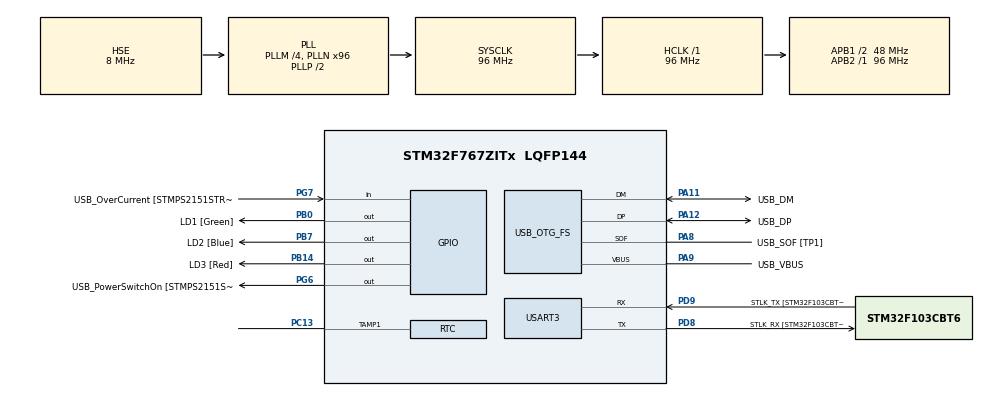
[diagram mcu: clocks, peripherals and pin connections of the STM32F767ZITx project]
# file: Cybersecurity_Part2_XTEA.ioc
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Mcu.Family=STM32F7
Mcu.Name=STM32F767ZITx
Mcu.Package=LQFP144
NVIC.HASH_RNG_IRQn=true\:0\:0\:false\:false\:true\:true\:true\:true
NVIC.PriorityGroup=NVIC_PRIORITYGROUP_4
NVIC.TAMP_STAMP_IRQn=true\:0\:0\:false\:false\:true\:true\:true\:true
PA1.GPIO_Label=RMII_REF_CLK [LAN8742A-CZ-TR_REFCLK0]
PA1.Signal=ETH_REF_CLK
PA10.GPIO_Label=USB_ID
PA10.Signal=USB_OTG_FS_ID
PA11.GPIO_Label=USB_DM
PA11.Mode=Device_Only
PA11.Signal=USB_OTG_FS_DM
PA12.GPIO_Label=USB_DP
PA12.Mode=Device_Only
PA12.Signal=USB_OTG_FS_DP
PA13.GPIO_Label=TMS
PA13.Mode=Serial_Wire
PA13.Signal=SYS_JTMS-SWDIO
PA14.GPIO_Label=TCK
PA14.Mode=Serial_Wire
PA14.Signal=SYS_JTCK-SWCLK
PA2.GPIO_Label=RMII_MDIO [LAN8742A-CZ-TR_MDIO]
PA2.Signal=ETH_MDIO
PA7.GPIO_Label=RMII_CRS_DV [LAN8742A-CZ-TR_CRS_DV]
PA7.Signal=ETH_CRS_DV
PA8.GPIO_Label=USB_SOF [TP1]
PA8.Mode=Activate_SOF_FS
PA8.Signal=USB_OTG_FS_SOF
PA9.GPIO_Label=USB_VBUS
PA9.Mode=Activate_VBUS
PA9.Signal=USB_OTG_FS_VBUS
PB0.GPIO_Label=LD1 [Green]
PB0.Signal=GPIO_Output
PB13.GPIO_Label=RMII_TXD1 [LAN8742A-CZ-TR_TXD1]
PB13.Signal=ETH_TXD1
PB14.GPIO_Label=LD3 [Red]
PB14.Signal=GPIO_Output
PB3.GPIO_Label=SWO
PB3.Signal=SYS_JTDO-SWO
PB7.GPIO_Label=LD2 [Blue]
PB7.Signal=GPIO_Output
PC1.GPIO_Label=RMII_MDC [LAN8742A-CZ-TR_MDC]
PC1.Signal=ETH_MDC
PC13.Mode=Tamper 1 enabled - Input Enabled to TAMP1
PC13.Signal=RTC_TAMP1
PC14/OSC32_IN.Mode=LSE-External-Oscillator
PC14/OSC32_IN.Signal=RCC_OSC32_IN
PC15/OSC32_OUT.Mode=LSE-External-Oscillator
PC15/OSC32_OUT.Signal=RCC_OSC32_OUT
PC4.GPIO_Label=RMII_RXD0 [LAN8742A-CZ-TR_RXD0]
PC4.Signal=ETH_RXD0
PC5.GPIO_Label=RMII_RXD1 [LAN8742A-CZ-TR_RXD1]
PC5.Signal=ETH_RXD1
PD8.GPIO_Label=STLK_RX [STM32F103CBT6_PA3]
PD8.Mode=Asynchronous
PD8.Signal=USART3_TX
PD9.GPIO_Label=STLK_TX [STM32F103CBT6_PA2]
PD9.Mode=Asynchronous
PD9.Signal=USART3_RX
PG11.GPIO_Label=RMII_TX_EN [LAN8742A-CZ-TR_TXEN]
PG11.Signal=ETH_TX_EN
PG13.GPIO_Label=RMII_TXD0 [LAN8742A-CZ-TR_TXD0]
PG13.Signal=ETH_TXD0
PG6.GPIO_Label=USB_PowerSwitchOn [STMPS2151STR_EN]
PG6.Signal=GPIO_Output
PG7.GPIO_Label=USB_OverCurrent [STMPS2151STR_FAULT]
PG7.Signal=GPIO_Input
PH0/OSC_IN.GPIO_Label=MCO [STM32F103CBT6_PA8]
PH0/OSC_IN.Mode=HSE-External-Clock-Source
PH0/OSC_IN.Signal=RCC_OSC_IN
PH1/OSC_OUT.Mode=HSE-External-Clock-Source
PH1/OSC_OUT.Signal=RCC_OSC_OUT
ProjectManager.HeapSize=0x200
ProjectManager.StackSize=0x400
ProjectManager.TargetToolchain=STM32CubeIDE
RCC.48MHZClocksFreq_Value=24000000
RCC.AHBFreq_Value=96000000
RCC.APB1CLKDivider=RCC_HCLK_DIV2
RCC.APB1Freq_Value=48000000
RCC.APB1TimFreq_Value=96000000
RCC.APB2Freq_Value=96000000
RCC.APB2TimFreq_Value=96000000
RCC.CortexFreq_Value=96000000
RCC.HCLKFreq_Value=96000000
RCC.HSE_VALUE=8000000
RCC.HSI_VALUE=16000000
RCC.PLLM=4
RCC.PLLMUL=RCC_PLL_MUL9
RCC.PLLN=96
RCC.PLLQ=4
RCC.PRESCALERUSB=RCC_USBCLKSOURCE_PLL_DIV1_5
RCC.SYSCLKFreq_VALUE=96000000
RCC.SYSCLKSource=RCC_SYSCLKSOURCE_PLLCLK
RCC.SYSCLKSourceVirtual=RCC_SYSCLKSOURCE_PLLCLK
RCC.USBFreq_Value=48000000
RCC.VCOOutputFreq_Value=192000000
RTC.Trigger_1=RTC_TAMPERTRIGGER_FALLINGEDGE
USART3.VirtualMode-Asynchronous=VM_ASYNC
USB_OTG_FS.VirtualMode=Device_Only
VP_RNG_VS_RNG.Mode=RNG_Activate
VP_RTC_VS_RTC_Activate.Mode=RTC_Enabled
board=NUCLEO-F767ZI

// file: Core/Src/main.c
/* USER CODE BEGIN Header */
/**
  ******************************************************************************
  * @file           : main.c
  * @brief          : Main program body
  ******************************************************************************
  * @attention
  *
  * Copyright (c) 2025 STMicroelectronics.
  * All rights reserved.
  *
  * This software is licensed under terms that can be found in the LICENSE file
  * in the root directory of this software component.
  * If no LICENSE file comes with this software, it is provided AS-IS.
  *
  ******************************************************************************
  */
/* USER CODE END Header */
#include "main.h"

/* USER CODE BEGIN Includes */
#include "stdio.h"
#include "xtea.h"
#include "string.h"
#include "stm32f7xx_ll_cortex.h"
#include "hashcheck.h"
#include "crypto.h"
#include "ecc_pub_key.h"
//#include "securitycheck.h"
#include "sigcheck.h"

/* USER CODE END Includes */

RNG_HandleTypeDef hrng;

RTC_HandleTypeDef hrtc;

UART_HandleTypeDef huart3;

PCD_HandleTypeDef hpcd_USB_OTG_FS;

void SystemClock_Config(void);
static void MX_GPIO_Init(void);
static void MX_USART3_UART_Init(void);
static void MX_USB_OTG_FS_PCD_Init(void);
static void MX_RNG_Init(void);
static void MX_RTC_Init(void);
/* USER CODE BEGIN PFP */
#ifdef __GNUC__
/* With GCC/RAISONANCE, small printf (option LD Linker->Libraries->Small printf
set to 'Yes') calls __io_putchar() */
#define PUTCHAR_PROTOTYPE int __io_putchar(int ch)
#else
#define PUTCHAR_PROTOTYPE int fputc(int ch, FILE *f)
#endif /* __GNUC__ */
/**
* @brief Retargets the C library printf function to the USART.
* @param None
* @retval None
*/
PUTCHAR_PROTOTYPE
{
/* Place your implementation of fputc here */
/* e.g. write a character to the USART1 and Loop until the end of transmission */
HAL_UART_Transmit(&huart3, (uint8_t *)&ch, 1, 0xFFFF);
return ch;
}

/* USER CODE END PFP */

/* USER CODE BEGIN 0 */
__attribute__((section(".signature")))
const uint8_t firmware_signature[64] = {
    [0 ... 63] = 0x00
};

uint32_t getCurrentMicros(void)
{
	LL_SYSTICK_IsActiveCounterFlag();
	uint32_t m = HAL_GetTick();
	const uint32_t tms = SysTick->LOAD + 1;
	__IO uint32_t u = tms - SysTick->VAL;
	if (LL_SYSTICK_IsActiveCounterFlag())
	{
		m = HAL_GetTick();
		u = tms - SysTick->VAL;
	}
	return (m*1000+(u*1000)/tms);
}

uint32_t myRandomNum;
uint8_t flagRNG = 0;

uint32_t key[4] = {0xABCDEFAB, 0xEFABCDEF, 0xCDEFABCD, 0xABCDEFAB};
/* USER CODE END 0 */

int main(void)
{

  /* USER CODE BEGIN 1 */
  uint32_t start_time;
  uint32_t end_time;
  uint32_t time_elapsed;
  /* USER CODE END 1 */

  /* MCU Configuration--------------------------------------------------------*/

  /* Reset of all peripherals, Initializes the Flash interface and the Systick. */
  HAL_Init();

  /* Configure the system clock */
  SystemClock_Config();

  /* Initialize all configured peripherals */
  MX_GPIO_Init();
  MX_USART3_UART_Init();
  MX_USB_OTG_FS_PCD_Init();
  MX_RNG_Init();
  MX_RTC_Init();
  /* USER CODE BEGIN 2 */

  printf("Waiting for 'start' command...\r\n");
  wait_for_start_command();

  FW_Signature_Verify();

  encrypt_and_send_uid();
  COM_Init();

  char cmd[16];  // <-- Declare the buffer for your UART command

  /* USER CODE END 2 */

  /* Infinite loop */
  while (1)
  {

    /* USER CODE BEGIN 3 */
	  memset(cmd, 0, sizeof(cmd));
	      read_uart_line(cmd, sizeof(cmd));
	      printf("Received command: '%s'\r\n", cmd);

	      if (strcmp(cmd, "plate") == 0) {
	          carplate();
	      } else if (strcmp(cmd, "secret") == 0) {
	          secret_message_encrypt();
	      } else {
	          printf("Unknown command: %s\r\n", cmd);
	      }

  }
  /* USER CODE END 3 */
}

void SystemClock_Config(void)
{
  RCC_OscInitTypeDef RCC_OscInitStruct = {0};
  RCC_ClkInitTypeDef RCC_ClkInitStruct = {0};

  /** Configure LSE Drive Capability
  */
  HAL_PWR_EnableBkUpAccess();

  /** Configure the main internal regulator output voltage
  */
  __HAL_RCC_PWR_CLK_ENABLE();
  __HAL_PWR_VOLTAGESCALING_CONFIG(PWR_REGULATOR_VOLTAGE_SCALE3);

  /** Initializes the RCC Oscillators according to the specified parameters
  * in the RCC_OscInitTypeDef structure.
  */
  RCC_OscInitStruct.OscillatorType = RCC_OSCILLATORTYPE_LSI|RCC_OSCILLATORTYPE_HSE;
  RCC_OscInitStruct.HSEState = RCC_HSE_BYPASS;
  RCC_OscInitStruct.LSIState = RCC_LSI_ON;
  RCC_OscInitStruct.PLL.PLLState = RCC_PLL_ON;
  RCC_OscInitStruct.PLL.PLLSource = RCC_PLLSOURCE_HSE;
  RCC_OscInitStruct.PLL.PLLM = 4;
  RCC_OscInitStruct.PLL.PLLN = 96;
  RCC_OscInitStruct.PLL.PLLP = RCC_PLLP_DIV2;
  RCC_OscInitStruct.PLL.PLLQ = 4;
  RCC_OscInitStruct.PLL.PLLR = 2;
  if (HAL_RCC_OscConfig(&RCC_OscInitStruct) != HAL_OK)
  {
    Error_Handler();
  }

  /** Activate the Over-Drive mode
  */
  if (HAL_PWREx_EnableOverDrive() != HAL_OK)
  {
    Error_Handler();
  }

  /** Initializes the CPU, AHB and APB buses clocks
  */
  RCC_ClkInitStruct.ClockType = RCC_CLOCKTYPE_HCLK|RCC_CLOCKTYPE_SYSCLK
                              |RCC_CLOCKTYPE_PCLK1|RCC_CLOCKTYPE_PCLK2;
  RCC_ClkInitStruct.SYSCLKSource = RCC_SYSCLKSOURCE_PLLCLK;
  RCC_ClkInitStruct.AHBCLKDivider = RCC_SYSCLK_DIV1;
  RCC_ClkInitStruct.APB1CLKDivider = RCC_HCLK_DIV2;
  RCC_ClkInitStruct.APB2CLKDivider = RCC_HCLK_DIV1;

  if (HAL_RCC_ClockConfig(&RCC_ClkInitStruct, FLASH_LATENCY_3) != HAL_OK)
  {
    Error_Handler();
  }
}

static void MX_RNG_Init(void)
{

  hrng.Instance = RNG;
  if (HAL_RNG_Init(&hrng) != HAL_OK)
  {
    Error_Handler();
  }

}

static void MX_RTC_Init(void)
{

  RTC_TamperTypeDef sTamper = {0};

  /** Initialize RTC Only
  */
  hrtc.Instance = RTC;
  hrtc.Init.HourFormat = RTC_HOURFORMAT_24;
  hrtc.Init.AsynchPrediv = 127;
  hrtc.Init.SynchPrediv = 255;
  hrtc.Init.OutPut = RTC_OUTPUT_DISABLE;
  hrtc.Init.OutPutPolarity = RTC_OUTPUT_POLARITY_HIGH;
  hrtc.Init.OutPutType = RTC_OUTPUT_TYPE_OPENDRAIN;
  if (HAL_RTC_Init(&hrtc) != HAL_OK)
  {
    Error_Handler();
  }

  /** Enable the RTC Tamper 1
  */
  sTamper.Tamper = RTC_TAMPER_1;
  sTamper.Interrupt = RTC_TAMPER1_INTERRUPT;
  sTamper.Trigger = RTC_TAMPERTRIGGER_FALLINGEDGE;
  sTamper.NoErase = RTC_TAMPER_ERASE_BACKUP_ENABLE;
  sTamper.MaskFlag = RTC_TAMPERMASK_FLAG_DISABLE;
  sTamper.Filter = RTC_TAMPERFILTER_DISABLE;
  sTamper.SamplingFrequency = RTC_TAMPERSAMPLINGFREQ_RTCCLK_DIV32768;
  sTamper.PrechargeDuration = RTC_TAMPERPRECHARGEDURATION_1RTCCLK;
  sTamper.TamperPullUp = RTC_TAMPER_PULLUP_ENABLE;
  sTamper.TimeStampOnTamperDetection = RTC_TIMESTAMPONTAMPERDETECTION_ENABLE;
  if (HAL_RTCEx_SetTamper_IT(&hrtc, &sTamper) != HAL_OK)
  {
    Error_Handler();
  }

}

static void MX_USART3_UART_Init(void)
{

  huart3.Instance = USART3;
  huart3.Init.BaudRate = 115200;
  huart3.Init.WordLength = UART_WORDLENGTH_8B;
  huart3.Init.StopBits = UART_STOPBITS_1;
  huart3.Init.Parity = UART_PARITY_NONE;
  huart3.Init.Mode = UART_MODE_TX_RX;
  huart3.Init.HwFlowCtl = UART_HWCONTROL_NONE;
  huart3.Init.OverSampling = UART_OVERSAMPLING_16;
  huart3.Init.OneBitSampling = UART_ONE_BIT_SAMPLE_DISABLE;
  huart3.AdvancedInit.AdvFeatureInit = UART_ADVFEATURE_NO_INIT;
  if (HAL_UART_Init(&huart3) != HAL_OK)
  {
    Error_Handler();
  }

}

static void MX_USB_OTG_FS_PCD_Init(void)
{

  hpcd_USB_OTG_FS.Instance = USB_OTG_FS;
  hpcd_USB_OTG_FS.Init.dev_endpoints = 6;
  hpcd_USB_OTG_FS.Init.speed = PCD_SPEED_FULL;
  hpcd_USB_OTG_FS.Init.dma_enable = DISABLE;
  hpcd_USB_OTG_FS.Init.phy_itface = PCD_PHY_EMBEDDED;
  hpcd_USB_OTG_FS.Init.Sof_enable = ENABLE;
  hpcd_USB_OTG_FS.Init.low_power_enable = DISABLE;
  hpcd_USB_OTG_FS.Init.lpm_enable = DISABLE;
  hpcd_USB_OTG_FS.Init.vbus_sensing_enable = ENABLE;
  hpcd_USB_OTG_FS.Init.use_dedicated_ep1 = DISABLE;
  if (HAL_PCD_Init(&hpcd_USB_OTG_FS) != HAL_OK)
  {
    Error_Handler();
  }

}

static void MX_GPIO_Init(void)
{
  GPIO_InitTypeDef GPIO_InitStruct = {0};

  /* GPIO Ports Clock Enable */
  __HAL_RCC_GPIOC_CLK_ENABLE();
  __HAL_RCC_GPIOH_CLK_ENABLE();
  __HAL_RCC_GPIOA_CLK_ENABLE();
  __HAL_RCC_GPIOB_CLK_ENABLE();
  __HAL_RCC_GPIOD_CLK_ENABLE();
  __HAL_RCC_GPIOG_CLK_ENABLE();

  /*Configure GPIO pin Output Level */
  HAL_GPIO_WritePin(GPIOB, LD1_Pin|LD3_Pin|LD2_Pin, GPIO_PIN_RESET);

  /*Configure GPIO pin Output Level */
  HAL_GPIO_WritePin(USB_PowerSwitchOn_GPIO_Port, USB_PowerSwitchOn_Pin, GPIO_PIN_RESET);

  /*Configure GPIO pins : RMII_MDC_Pin RMII_RXD0_Pin RMII_RXD1_Pin */
  GPIO_InitStruct.Pin = RMII_MDC_Pin|RMII_RXD0_Pin|RMII_RXD1_Pin;
  GPIO_InitStruct.Mode = GPIO_MODE_AF_PP;
  GPIO_InitStruct.Pull = GPIO_NOPULL;
  GPIO_InitStruct.Speed = GPIO_SPEED_FREQ_VERY_HIGH;
  GPIO_InitStruct.Alternate = GPIO_AF11_ETH;
  HAL_GPIO_Init(GPIOC, &GPIO_InitStruct);

  /*Configure GPIO pins : RMII_REF_CLK_Pin RMII_MDIO_Pin RMII_CRS_DV_Pin */
  GPIO_InitStruct.Pin = RMII_REF_CLK_Pin|RMII_MDIO_Pin|RMII_CRS_DV_Pin;
  GPIO_InitStruct.Mode = GPIO_MODE_AF_PP;
  GPIO_InitStruct.Pull = GPIO_NOPULL;
  GPIO_InitStruct.Speed = GPIO_SPEED_FREQ_VERY_HIGH;
  GPIO_InitStruct.Alternate = GPIO_AF11_ETH;
  HAL_GPIO_Init(GPIOA, &GPIO_InitStruct);

  /*Configure GPIO pins : LD1_Pin LD3_Pin LD2_Pin */
  GPIO_InitStruct.Pin = LD1_Pin|LD3_Pin|LD2_Pin;
  GPIO_InitStruct.Mode = GPIO_MODE_OUTPUT_PP;
  GPIO_InitStruct.Pull = GPIO_NOPULL;
  GPIO_InitStruct.Speed = GPIO_SPEED_FREQ_LOW;
  HAL_GPIO_Init(GPIOB, &GPIO_InitStruct);

  /*Configure GPIO pin : RMII_TXD1_Pin */
  GPIO_InitStruct.Pin = RMII_TXD1_Pin;
  GPIO_InitStruct.Mode = GPIO_MODE_AF_PP;
  GPIO_InitStruct.Pull = GPIO_NOPULL;
  GPIO_InitStruct.Speed = GPIO_SPEED_FREQ_VERY_HIGH;
  GPIO_InitStruct.Alternate = GPIO_AF11_ETH;
  HAL_GPIO_Init(RMII_TXD1_GPIO_Port, &GPIO_InitStruct);

  /*Configure GPIO pin : USB_PowerSwitchOn_Pin */
  GPIO_InitStruct.Pin = USB_PowerSwitchOn_Pin;
  GPIO_InitStruct.Mode = GPIO_MODE_OUTPUT_PP;
  GPIO_InitStruct.Pull = GPIO_NOPULL;
  GPIO_InitStruct.Speed = GPIO_SPEED_FREQ_LOW;
  HAL_GPIO_Init(USB_PowerSwitchOn_GPIO_Port, &GPIO_InitStruct);

  /*Configure GPIO pin : USB_OverCurrent_Pin */
  GPIO_InitStruct.Pin = USB_OverCurrent_Pin;
  GPIO_InitStruct.Mode = GPIO_MODE_INPUT;
  GPIO_InitStruct.Pull = GPIO_NOPULL;
  HAL_GPIO_Init(USB_OverCurrent_GPIO_Port, &GPIO_InitStruct);

  /*Configure GPIO pins : RMII_TX_EN_Pin RMII_TXD0_Pin */
  GPIO_InitStruct.Pin = RMII_TX_EN_Pin|RMII_TXD0_Pin;
  GPIO_InitStruct.Mode = GPIO_MODE_AF_PP;
  GPIO_InitStruct.Pull = GPIO_NOPULL;
  GPIO_InitStruct.Speed = GPIO_SPEED_FREQ_VERY_HIGH;
  GPIO_InitStruct.Alternate = GPIO_AF11_ETH;
  HAL_GPIO_Init(GPIOG, &GPIO_InitStruct);

}

/* USER CODE BEGIN 4 */
void HAL_RNG_ReadyDataCallback(RNG_HandleTypeDef *hrng, uint32_t random32bit)
{
	/* Prevent unused argument(s) compilation warning */
	UNUSED(hrng);
	UNUSED(random32bit);
flagRNG=1;
}

void encrypt_and_send_uid(void) {
    uint32_t uid[3] = { HAL_GetUIDw0(), HAL_GetUIDw1(), HAL_GetUIDw2() };
    uint32_t block1[2] = { uid[0], uid[1] };
    uint32_t block2[2] = { uid[2], 0x0 };
    uint32_t enc1[2], enc2[2];

    xtea_enc(enc1, block1, key);
    xtea_enc(enc2, block2, key);

    printf("UID Encrypted: %08lx %08lx %08lx %08lx\r\n", enc1[0], enc1[1], enc2[0], enc2[1]);
}
void wait_for_start_command(void) {
	  char rx_buffer[16];
     while (1) {
         HAL_UART_Receive(&huart3, (uint8_t*)rx_buffer, 5, HAL_MAX_DELAY);
         if (strncmp(rx_buffer, "start", 5) == 0) {
             printf("Start command received\r\n");
             break;
         }
     }
 }

void carplate(void) {
    uint32_t plate;
    HAL_RNG_GenerateRandomNumber(&hrng, &plate);
    plate %= 1000000;

    /*printf("Generated plate: %06lu\r\n", plate);*/

    uint32_t block[2] = {plate, 0};
    uint32_t encrypted[2];
    xtea_enc(encrypted, block, key);

    printf("Encrypted Plate: %08lx %08lx\r\n", encrypted[0], encrypted[1]);
}

void secret_message_encrypt(void) {
    uint32_t msg[4] = {
        0x416D617A, 0x696E6720,
        0x4F737420, 0x5C6F2F20
    };
    uint32_t enc[4];
    xtea_enc(&enc[0], &msg[0], key);
    xtea_enc(&enc[2], &msg[2], key);

    printf("Encrypted secret: %08lx %08lx %08lx %08lx\r\n",
           enc[0], enc[1], enc[2], enc[3]);
}

void HAL_RTCEx_Tamper1EventCallback(RTC_HandleTypeDef *hrtc)
{
    printf("TAMPER DETECTED! Halting system.\r\n");

    HAL_GPIO_WritePin(GPIOB, LD3_Pin, GPIO_PIN_SET); // Turn on red LED (optional)

    // Optional: Log event, or trigger response
    while (1); // Lock system
}

void read_uart_line(char *buffer, size_t maxlen) {
    uint8_t ch;
    size_t idx = 0;

    while (1) {
        HAL_UART_Receive(&huart3, &ch, 1, HAL_MAX_DELAY);
        if (ch == '\r' || ch == '\n') {
            buffer[idx] = '\0'; // Null-terminate
            break;
        }
        if (idx < maxlen - 1) {
            buffer[idx++] = ch;
        }
    }
}

/* USER CODE END 4 */

void Error_Handler(void)
{
  __disable_irq();
  while (1)
  {
  }
}
